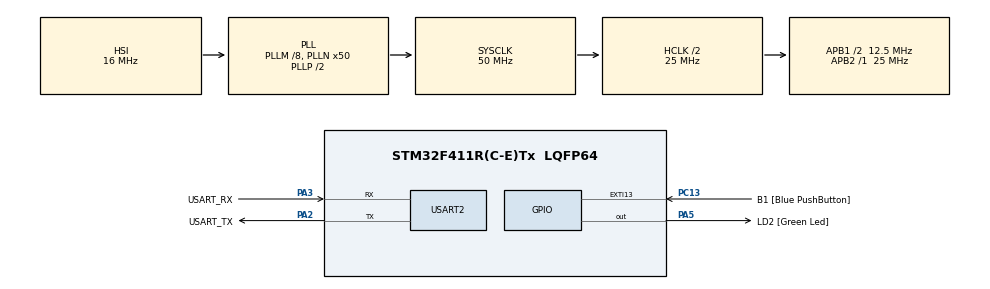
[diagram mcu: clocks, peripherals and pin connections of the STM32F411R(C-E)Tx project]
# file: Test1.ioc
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Mcu.Family=STM32F4
Mcu.Name=STM32F411R(C-E)Tx
Mcu.Package=LQFP64
NVIC.PriorityGroup=NVIC_PRIORITYGROUP_0
PA13.GPIO_Label=TMS
PA13.Mode=Serial_Wire
PA13.Signal=SYS_JTMS-SWDIO
PA14.GPIO_Label=TCK
PA14.Mode=Serial_Wire
PA14.Signal=SYS_JTCK-SWCLK
PA2.GPIO_Label=USART_TX
PA2.Mode=Asynchronous
PA2.Signal=USART2_TX
PA3.GPIO_Label=USART_RX
PA3.Mode=Asynchronous
PA3.Signal=USART2_RX
PA5.GPIO_Label=LD2 [Green Led]
PA5.Signal=GPIO_Output
PB3.GPIO_Label=SWO
PB3.Signal=SYS_JTDO-SWO
PC13-ANTI_TAMP.GPIO_Label=B1 [Blue PushButton]
PC13-ANTI_TAMP.GPIO_ModeDefaultEXTI=GPIO_MODE_IT_FALLING
PC13-ANTI_TAMP.Signal=GPXTI13
PC14-OSC32_IN.Mode=LSE-External-Oscillator
PC14-OSC32_IN.Signal=RCC_OSC32_IN
PC15-OSC32_OUT.Mode=LSE-External-Oscillator
PC15-OSC32_OUT.Signal=RCC_OSC32_OUT
PH0\ -\ OSC_IN.Mode=HSE-External-Clock-Source
PH0\ -\ OSC_IN.Signal=RCC_OSC_IN
PH1\ -\ OSC_OUT.Mode=HSE-External-Clock-Source
PH1\ -\ OSC_OUT.Signal=RCC_OSC_OUT
ProjectManager.HeapSize=0x200
ProjectManager.StackSize=0x400
ProjectManager.TargetToolchain=STM32CubeIDE
RCC.48MHZClocksFreq_Value=25000000
RCC.AHBCLKDivider=RCC_SYSCLK_DIV2
RCC.AHBFreq_Value=25000000
RCC.APB1CLKDivider=RCC_HCLK_DIV2
RCC.APB1Freq_Value=12500000
RCC.APB1TimFreq_Value=25000000
RCC.APB2Freq_Value=25000000
RCC.APB2TimFreq_Value=25000000
RCC.CortexFreq_Value=25000000
RCC.FLatency-AdvancedSettings=FLASH_LATENCY_0
RCC.HCLKFreq_Value=25000000
RCC.HSE_VALUE=8000000
RCC.HSI_VALUE=16000000
RCC.PLLM=8
RCC.PLLN=50
RCC.SYSCLKFreq_VALUE=50000000
RCC.SYSCLKSource=RCC_SYSCLKSOURCE_PLLCLK
RCC.VCOOutputFreq_Value=100000000
USART2.VirtualMode=VM_ASYNC
board=NUCLEO-F411RE

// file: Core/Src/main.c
/* USER CODE BEGIN Header */
/**
  ******************************************************************************
  * @file           : main.c
  * @brief          : Main program body
  ******************************************************************************
  * @attention
  *
  * Copyright (c) 2023 STMicroelectronics.
  * All rights reserved.
  *
  * This software is licensed under terms that can be found in the LICENSE file
  * in the root directory of this software component.
  * If no LICENSE file comes with this software, it is provided AS-IS.
  *
  ******************************************************************************
  */
/* USER CODE END Header */
#include "main.h"

UART_HandleTypeDef huart2;

void SystemClock_Config(void);
static void MX_GPIO_Init(void);
static void MX_USART2_UART_Init(void);

/* USER CODE BEGIN 0 */
int state = 0;
int pressed = 1;
int s = 0;

char array[5];
uint8_t data;
int run = 1;

/* USER CODE END 0 */

int main(void)
{

  /* MCU Configuration--------------------------------------------------------*/

  /* Reset of all peripherals, Initializes the Flash interface and the Systick. */
  HAL_Init();

  /* Configure the system clock */
  SystemClock_Config();

  /* Initialize all configured peripherals */
  MX_GPIO_Init();
  MX_USART2_UART_Init();

  /* Infinite loop */
  /* USER CODE BEGIN WHILE */
  while (1)
  {
	  if (run == 0){
		  continue;
	  }

	  // input part
	  if ((HAL_GPIO_ReadPin(GPIOC, GPIO_PIN_13)== GPIO_PIN_RESET) && (pressed == 1) ){ // when press button
		  state += 1;
		  if (state >= 4){
			  state = (state % 4) + 1;
		  }
		  pressed = 0;
		  HAL_Delay(10);
	  }

	  if ((HAL_GPIO_ReadPin(GPIOC, GPIO_PIN_13)== GPIO_PIN_SET) && (pressed == 0) ){ // when dont press button
		  pressed = 1;
		  HAL_Delay(10);
	  }

	  // uart part
	  if (HAL_UART_Receive(&huart2, &data, 1, 10) == HAL_OK){
		  array[1] = array[0];
		  array[0] = data;
		  HAL_UART_Transmit(&huart2, &data, 1, 10);
		  if((array[0] == '!' && array[1] == 'q') || (array[0] == '!' && array[1] == 'Q')){
			  char out[20];
			  sprintf(&out, "Power Down");
			  HAL_UART_Transmit(&huart2, &out, strlen(out), 10);
			  run = 0;
		  }
	  }

	  // state part
	  if (state == 0){
		  HAL_GPIO_WritePin(GPIOA, GPIO_PIN_5, GPIO_PIN_SET);
		  HAL_Delay(250);
		  HAL_GPIO_WritePin(GPIOA, GPIO_PIN_5, GPIO_PIN_RESET);
		  HAL_Delay(750);
	  } else if (state == 1){
		  HAL_GPIO_WritePin(GPIOA, GPIO_PIN_5, GPIO_PIN_SET);
		  HAL_Delay(250);
		  HAL_GPIO_WritePin(GPIOA, GPIO_PIN_5, GPIO_PIN_RESET);
		  HAL_Delay(1750);
	  } else if (state == 2){
		  HAL_GPIO_WritePin(GPIOA, GPIO_PIN_5, GPIO_PIN_SET);
		  HAL_Delay(250);
		  HAL_GPIO_WritePin(GPIOA, GPIO_PIN_5, GPIO_PIN_RESET);
		  HAL_Delay(3750);
	  } else if (state == 3){
		  HAL_GPIO_WritePin(GPIOA, GPIO_PIN_5, GPIO_PIN_SET);
		  HAL_Delay(250);
		  HAL_GPIO_WritePin(GPIOA, GPIO_PIN_5, GPIO_PIN_RESET);
		  HAL_Delay(750);
	  }

    /* USER CODE END WHILE */

  }
}

void SystemClock_Config(void)
{
  RCC_OscInitTypeDef RCC_OscInitStruct = {0};
  RCC_ClkInitTypeDef RCC_ClkInitStruct = {0};

  /** Configure the main internal regulator output voltage
  */
  __HAL_RCC_PWR_CLK_ENABLE();
  __HAL_PWR_VOLTAGESCALING_CONFIG(PWR_REGULATOR_VOLTAGE_SCALE1);

  /** Initializes the RCC Oscillators according to the specified parameters
  * in the RCC_OscInitTypeDef structure.
  */
  RCC_OscInitStruct.OscillatorType = RCC_OSCILLATORTYPE_HSI;
  RCC_OscInitStruct.HSIState = RCC_HSI_ON;
  RCC_OscInitStruct.HSICalibrationValue = RCC_HSICALIBRATION_DEFAULT;
  RCC_OscInitStruct.PLL.PLLState = RCC_PLL_ON;
  RCC_OscInitStruct.PLL.PLLSource = RCC_PLLSOURCE_HSI;
  RCC_OscInitStruct.PLL.PLLM = 8;
  RCC_OscInitStruct.PLL.PLLN = 50;
  RCC_OscInitStruct.PLL.PLLP = RCC_PLLP_DIV2;
  RCC_OscInitStruct.PLL.PLLQ = 4;
  if (HAL_RCC_OscConfig(&RCC_OscInitStruct) != HAL_OK)
  {
    Error_Handler();
  }

  /** Initializes the CPU, AHB and APB buses clocks
  */
  RCC_ClkInitStruct.ClockType = RCC_CLOCKTYPE_HCLK|RCC_CLOCKTYPE_SYSCLK
                              |RCC_CLOCKTYPE_PCLK1|RCC_CLOCKTYPE_PCLK2;
  RCC_ClkInitStruct.SYSCLKSource = RCC_SYSCLKSOURCE_PLLCLK;
  RCC_ClkInitStruct.AHBCLKDivider = RCC_SYSCLK_DIV2;
  RCC_ClkInitStruct.APB1CLKDivider = RCC_HCLK_DIV2;
  RCC_ClkInitStruct.APB2CLKDivider = RCC_HCLK_DIV1;

  if (HAL_RCC_ClockConfig(&RCC_ClkInitStruct, FLASH_LATENCY_0) != HAL_OK)
  {
    Error_Handler();
  }
}

static void MX_USART2_UART_Init(void)
{

  huart2.Instance = USART2;
  huart2.Init.BaudRate = 115200;
  huart2.Init.WordLength = UART_WORDLENGTH_8B;
  huart2.Init.StopBits = UART_STOPBITS_1;
  huart2.Init.Parity = UART_PARITY_NONE;
  huart2.Init.Mode = UART_MODE_TX_RX;
  huart2.Init.HwFlowCtl = UART_HWCONTROL_NONE;
  huart2.Init.OverSampling = UART_OVERSAMPLING_16;
  if (HAL_UART_Init(&huart2) != HAL_OK)
  {
    Error_Handler();
  }

}

static void MX_GPIO_Init(void)
{
  GPIO_InitTypeDef GPIO_InitStruct = {0};

  /* GPIO Ports Clock Enable */
  __HAL_RCC_GPIOC_CLK_ENABLE();
  __HAL_RCC_GPIOH_CLK_ENABLE();
  __HAL_RCC_GPIOA_CLK_ENABLE();
  __HAL_RCC_GPIOB_CLK_ENABLE();

  /*Configure GPIO pin Output Level */
  HAL_GPIO_WritePin(LD2_GPIO_Port, LD2_Pin, GPIO_PIN_RESET);

  /*Configure GPIO pin : B1_Pin */
  GPIO_InitStruct.Pin = B1_Pin;
  GPIO_InitStruct.Mode = GPIO_MODE_IT_FALLING;
  GPIO_InitStruct.Pull = GPIO_NOPULL;
  HAL_GPIO_Init(B1_GPIO_Port, &GPIO_InitStruct);

  /*Configure GPIO pin : LD2_Pin */
  GPIO_InitStruct.Pin = LD2_Pin;
  GPIO_InitStruct.Mode = GPIO_MODE_OUTPUT_PP;
  GPIO_InitStruct.Pull = GPIO_NOPULL;
  GPIO_InitStruct.Speed = GPIO_SPEED_FREQ_LOW;
  HAL_GPIO_Init(LD2_GPIO_Port, &GPIO_InitStruct);

}

void Error_Handler(void)
{
  __disable_irq();
  while (1)
  {
  }
}
